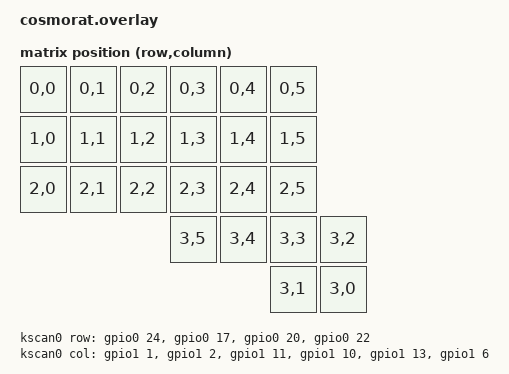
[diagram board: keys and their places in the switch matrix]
#include <dt-bindings/zmk/matrix_transform.h> // Put this with the other includes at the top of your overlay
#include "cosmorat.dtsi"
/ {
    chosen {
        zmk,kscan = &kscan0;
        zmk,physical-layout = &cosmorat_layout;
    };

    default_transform: default_transform {
        compatible = "zmk,matrix-transform";
        columns = <6>;
        rows = <4>;
        map = <
            // Основной блок 6x3
            RC(0,0) RC(0,1) RC(0,2) RC(0,3) RC(0,4) RC(0,5)
            RC(1,0) RC(1,1) RC(1,2) RC(1,3) RC(1,4) RC(1,5)
            RC(2,0) RC(2,1) RC(2,2) RC(2,3) RC(2,4) RC(2,5)
                                    RC(3,5) RC(3,4) RC(3,3) RC(3,2)
                                                    RC(3,1) RC(3,0)
        >;
    };

    kscan0: kscan0 {
        compatible = "zmk,kscan-gpio-matrix";
        diode-direction = "col2row";
        wakeup-source;

        col-gpios
            = <&gpio1 1 GPIO_ACTIVE_HIGH>  // про микро пин 19 = gpio1 1 для nice_nano
            , <&gpio1 2 GPIO_ACTIVE_HIGH>  // про микро пин 18 = gpio1 2 для nice_nano
            , <&gpio1 11 GPIO_ACTIVE_HIGH> // про микро пин 15 = gpio1 11 для nice_nano
            , <&gpio1 10 GPIO_ACTIVE_HIGH> // про микро пин 14 = gpio1 10 для nice_nano
            , <&gpio1 13 GPIO_ACTIVE_HIGH> // про микро пин 16 = gpio1 13 для nice_nano
            , <&gpio1 6 GPIO_ACTIVE_HIGH>  // про микро пин 10 = gpio1 6 для nice_nano
            ;

        row-gpios
            = <&gpio0 24 (GPIO_ACTIVE_HIGH | GPIO_PULL_DOWN)> // про микро пин 9 = gpio0 24 для nice_nano
            , <&gpio0 17 (GPIO_ACTIVE_HIGH | GPIO_PULL_DOWN)> // про микро пин 8 = gpio0 17 для nice_nano
            , <&gpio0 20 (GPIO_ACTIVE_HIGH | GPIO_PULL_DOWN)> // про микро пин 7 = gpio0 20 для nice_nano
            , <&gpio0 22 (GPIO_ACTIVE_HIGH | GPIO_PULL_DOWN)> // про микро пин 6 = gpio0 22 для nice_nano
            ;
    };
};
